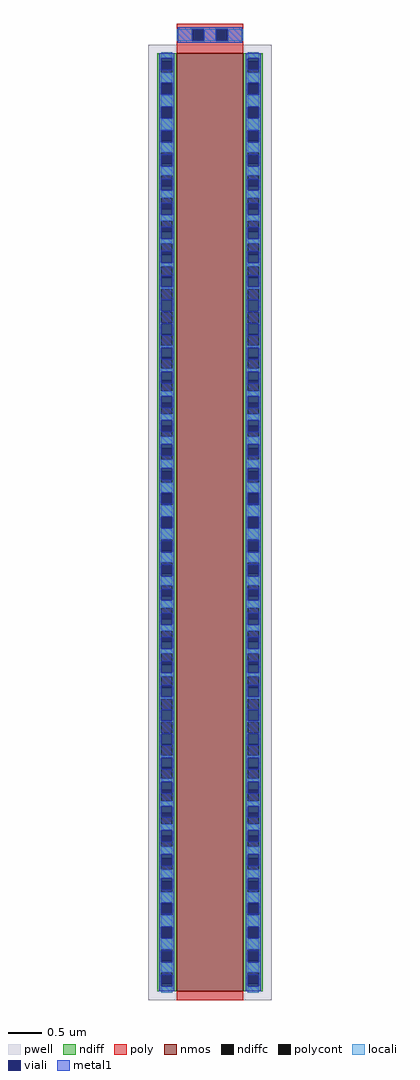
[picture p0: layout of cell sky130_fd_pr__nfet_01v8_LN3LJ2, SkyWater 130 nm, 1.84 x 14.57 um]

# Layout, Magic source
magic
tech sky130A
magscale 1 2
<< pwell >>
rect -184 -1457 184 1395
<< nmos >>
rect -100 -1431 100 1369
<< ndiff >>
rect -158 1346 -100 1369
rect -158 1312 -146 1346
rect -112 1312 -100 1346
rect -158 1278 -100 1312
rect -158 1244 -146 1278
rect -112 1244 -100 1278
rect -158 1210 -100 1244
rect -158 1176 -146 1210
rect -112 1176 -100 1210
rect -158 1142 -100 1176
rect -158 1108 -146 1142
rect -112 1108 -100 1142
rect -158 1074 -100 1108
rect -158 1040 -146 1074
rect -112 1040 -100 1074
rect -158 1006 -100 1040
rect -158 972 -146 1006
rect -112 972 -100 1006
rect -158 938 -100 972
rect -158 904 -146 938
rect -112 904 -100 938
rect -158 870 -100 904
rect -158 836 -146 870
rect -112 836 -100 870
rect -158 802 -100 836
rect -158 768 -146 802
rect -112 768 -100 802
rect -158 734 -100 768
rect -158 700 -146 734
rect -112 700 -100 734
rect -158 666 -100 700
rect -158 632 -146 666
rect -112 632 -100 666
rect -158 598 -100 632
rect -158 564 -146 598
rect -112 564 -100 598
rect -158 530 -100 564
rect -158 496 -146 530
rect -112 496 -100 530
rect -158 462 -100 496
rect -158 428 -146 462
rect -112 428 -100 462
rect -158 394 -100 428
rect -158 360 -146 394
rect -112 360 -100 394
rect -158 326 -100 360
rect -158 292 -146 326
rect -112 292 -100 326
rect -158 258 -100 292
rect -158 224 -146 258
rect -112 224 -100 258
rect -158 190 -100 224
rect -158 156 -146 190
rect -112 156 -100 190
rect -158 122 -100 156
rect -158 88 -146 122
rect -112 88 -100 122
rect -158 54 -100 88
rect -158 20 -146 54
rect -112 20 -100 54
rect -158 -14 -100 20
rect -158 -48 -146 -14
rect -112 -48 -100 -14
rect -158 -82 -100 -48
rect -158 -116 -146 -82
rect -112 -116 -100 -82
rect -158 -150 -100 -116
rect -158 -184 -146 -150
rect -112 -184 -100 -150
rect -158 -218 -100 -184
rect -158 -252 -146 -218
rect -112 -252 -100 -218
rect -158 -286 -100 -252
rect -158 -320 -146 -286
rect -112 -320 -100 -286
rect -158 -354 -100 -320
rect -158 -388 -146 -354
rect -112 -388 -100 -354
rect -158 -422 -100 -388
rect -158 -456 -146 -422
rect -112 -456 -100 -422
rect -158 -490 -100 -456
rect -158 -524 -146 -490
rect -112 -524 -100 -490
rect -158 -558 -100 -524
rect -158 -592 -146 -558
rect -112 -592 -100 -558
rect -158 -626 -100 -592
rect -158 -660 -146 -626
rect -112 -660 -100 -626
rect -158 -694 -100 -660
rect -158 -728 -146 -694
rect -112 -728 -100 -694
rect -158 -762 -100 -728
rect -158 -796 -146 -762
rect -112 -796 -100 -762
rect -158 -830 -100 -796
rect -158 -864 -146 -830
rect -112 -864 -100 -830
rect -158 -898 -100 -864
rect -158 -932 -146 -898
rect -112 -932 -100 -898
rect -158 -966 -100 -932
rect -158 -1000 -146 -966
rect -112 -1000 -100 -966
rect -158 -1034 -100 -1000
rect -158 -1068 -146 -1034
rect -112 -1068 -100 -1034
rect -158 -1102 -100 -1068
rect -158 -1136 -146 -1102
rect -112 -1136 -100 -1102
rect -158 -1170 -100 -1136
rect -158 -1204 -146 -1170
rect -112 -1204 -100 -1170
rect -158 -1238 -100 -1204
rect -158 -1272 -146 -1238
rect -112 -1272 -100 -1238
rect -158 -1306 -100 -1272
rect -158 -1340 -146 -1306
rect -112 -1340 -100 -1306
rect -158 -1374 -100 -1340
rect -158 -1408 -146 -1374
rect -112 -1408 -100 -1374
rect -158 -1431 -100 -1408
rect 100 1346 158 1369
rect 100 1312 112 1346
rect 146 1312 158 1346
rect 100 1278 158 1312
rect 100 1244 112 1278
rect 146 1244 158 1278
rect 100 1210 158 1244
rect 100 1176 112 1210
rect 146 1176 158 1210
rect 100 1142 158 1176
rect 100 1108 112 1142
rect 146 1108 158 1142
rect 100 1074 158 1108
rect 100 1040 112 1074
rect 146 1040 158 1074
rect 100 1006 158 1040
rect 100 972 112 1006
rect 146 972 158 1006
rect 100 938 158 972
rect 100 904 112 938
rect 146 904 158 938
rect 100 870 158 904
rect 100 836 112 870
rect 146 836 158 870
rect 100 802 158 836
rect 100 768 112 802
rect 146 768 158 802
rect 100 734 158 768
rect 100 700 112 734
rect 146 700 158 734
rect 100 666 158 700
rect 100 632 112 666
rect 146 632 158 666
rect 100 598 158 632
rect 100 564 112 598
rect 146 564 158 598
rect 100 530 158 564
rect 100 496 112 530
rect 146 496 158 530
rect 100 462 158 496
rect 100 428 112 462
rect 146 428 158 462
rect 100 394 158 428
rect 100 360 112 394
rect 146 360 158 394
rect 100 326 158 360
rect 100 292 112 326
rect 146 292 158 326
rect 100 258 158 292
rect 100 224 112 258
rect 146 224 158 258
rect 100 190 158 224
rect 100 156 112 190
rect 146 156 158 190
rect 100 122 158 156
rect 100 88 112 122
rect 146 88 158 122
rect 100 54 158 88
rect 100 20 112 54
rect 146 20 158 54
rect 100 -14 158 20
rect 100 -48 112 -14
rect 146 -48 158 -14
rect 100 -82 158 -48
rect 100 -116 112 -82
rect 146 -116 158 -82
rect 100 -150 158 -116
rect 100 -184 112 -150
rect 146 -184 158 -150
rect 100 -218 158 -184
rect 100 -252 112 -218
rect 146 -252 158 -218
rect 100 -286 158 -252
rect 100 -320 112 -286
rect 146 -320 158 -286
rect 100 -354 158 -320
rect 100 -388 112 -354
rect 146 -388 158 -354
rect 100 -422 158 -388
rect 100 -456 112 -422
rect 146 -456 158 -422
rect 100 -490 158 -456
rect 100 -524 112 -490
rect 146 -524 158 -490
rect 100 -558 158 -524
rect 100 -592 112 -558
rect 146 -592 158 -558
rect 100 -626 158 -592
rect 100 -660 112 -626
rect 146 -660 158 -626
rect 100 -694 158 -660
rect 100 -728 112 -694
rect 146 -728 158 -694
rect 100 -762 158 -728
rect 100 -796 112 -762
rect 146 -796 158 -762
rect 100 -830 158 -796
rect 100 -864 112 -830
rect 146 -864 158 -830
rect 100 -898 158 -864
rect 100 -932 112 -898
rect 146 -932 158 -898
rect 100 -966 158 -932
rect 100 -1000 112 -966
rect 146 -1000 158 -966
rect 100 -1034 158 -1000
rect 100 -1068 112 -1034
rect 146 -1068 158 -1034
rect 100 -1102 158 -1068
rect 100 -1136 112 -1102
rect 146 -1136 158 -1102
rect 100 -1170 158 -1136
rect 100 -1204 112 -1170
rect 146 -1204 158 -1170
rect 100 -1238 158 -1204
rect 100 -1272 112 -1238
rect 146 -1272 158 -1238
rect 100 -1306 158 -1272
rect 100 -1340 112 -1306
rect 146 -1340 158 -1306
rect 100 -1374 158 -1340
rect 100 -1408 112 -1374
rect 146 -1408 158 -1374
rect 100 -1431 158 -1408
<< ndiffc >>
rect -146 1312 -112 1346
rect -146 1244 -112 1278
rect -146 1176 -112 1210
rect -146 1108 -112 1142
rect -146 1040 -112 1074
rect -146 972 -112 1006
rect -146 904 -112 938
rect -146 836 -112 870
rect -146 768 -112 802
rect -146 700 -112 734
rect -146 632 -112 666
rect -146 564 -112 598
rect -146 496 -112 530
rect -146 428 -112 462
rect -146 360 -112 394
rect -146 292 -112 326
rect -146 224 -112 258
rect -146 156 -112 190
rect -146 88 -112 122
rect -146 20 -112 54
rect -146 -48 -112 -14
rect -146 -116 -112 -82
rect -146 -184 -112 -150
rect -146 -252 -112 -218
rect -146 -320 -112 -286
rect -146 -388 -112 -354
rect -146 -456 -112 -422
rect -146 -524 -112 -490
rect -146 -592 -112 -558
rect -146 -660 -112 -626
rect -146 -728 -112 -694
rect -146 -796 -112 -762
rect -146 -864 -112 -830
rect -146 -932 -112 -898
rect -146 -1000 -112 -966
rect -146 -1068 -112 -1034
rect -146 -1136 -112 -1102
rect -146 -1204 -112 -1170
rect -146 -1272 -112 -1238
rect -146 -1340 -112 -1306
rect -146 -1408 -112 -1374
rect 112 1312 146 1346
rect 112 1244 146 1278
rect 112 1176 146 1210
rect 112 1108 146 1142
rect 112 1040 146 1074
rect 112 972 146 1006
rect 112 904 146 938
rect 112 836 146 870
rect 112 768 146 802
rect 112 700 146 734
rect 112 632 146 666
rect 112 564 146 598
rect 112 496 146 530
rect 112 428 146 462
rect 112 360 146 394
rect 112 292 146 326
rect 112 224 146 258
rect 112 156 146 190
rect 112 88 146 122
rect 112 20 146 54
rect 112 -48 146 -14
rect 112 -116 146 -82
rect 112 -184 146 -150
rect 112 -252 146 -218
rect 112 -320 146 -286
rect 112 -388 146 -354
rect 112 -456 146 -422
rect 112 -524 146 -490
rect 112 -592 146 -558
rect 112 -660 146 -626
rect 112 -728 146 -694
rect 112 -796 146 -762
rect 112 -864 146 -830
rect 112 -932 146 -898
rect 112 -1000 146 -966
rect 112 -1068 146 -1034
rect 112 -1136 146 -1102
rect 112 -1204 146 -1170
rect 112 -1272 146 -1238
rect 112 -1340 146 -1306
rect 112 -1408 146 -1374
<< poly >>
rect -100 1441 100 1457
rect -100 1407 -51 1441
rect -17 1407 17 1441
rect 51 1407 100 1441
rect -100 1369 100 1407
rect -100 -1457 100 -1431
<< polycont >>
rect -51 1407 -17 1441
rect 17 1407 51 1441
<< locali >>
rect -100 1407 -53 1441
rect -17 1407 17 1441
rect 53 1407 100 1441
rect -146 1354 -112 1373
rect -146 1282 -112 1312
rect -146 1210 -112 1244
rect -146 1142 -112 1176
rect -146 1074 -112 1104
rect -146 1006 -112 1032
rect -146 938 -112 960
rect -146 870 -112 888
rect -146 802 -112 816
rect -146 734 -112 744
rect -146 666 -112 672
rect -146 598 -112 600
rect -146 562 -112 564
rect -146 490 -112 496
rect -146 418 -112 428
rect -146 346 -112 360
rect -146 274 -112 292
rect -146 202 -112 224
rect -146 130 -112 156
rect -146 58 -112 88
rect -146 -14 -112 20
rect -146 -82 -112 -48
rect -146 -150 -112 -120
rect -146 -218 -112 -192
rect -146 -286 -112 -264
rect -146 -354 -112 -336
rect -146 -422 -112 -408
rect -146 -490 -112 -480
rect -146 -558 -112 -552
rect -146 -626 -112 -624
rect -146 -662 -112 -660
rect -146 -734 -112 -728
rect -146 -806 -112 -796
rect -146 -878 -112 -864
rect -146 -950 -112 -932
rect -146 -1022 -112 -1000
rect -146 -1094 -112 -1068
rect -146 -1166 -112 -1136
rect -146 -1238 -112 -1204
rect -146 -1306 -112 -1272
rect -146 -1374 -112 -1344
rect -146 -1435 -112 -1416
rect 112 1354 146 1373
rect 112 1282 146 1312
rect 112 1210 146 1244
rect 112 1142 146 1176
rect 112 1074 146 1104
rect 112 1006 146 1032
rect 112 938 146 960
rect 112 870 146 888
rect 112 802 146 816
rect 112 734 146 744
rect 112 666 146 672
rect 112 598 146 600
rect 112 562 146 564
rect 112 490 146 496
rect 112 418 146 428
rect 112 346 146 360
rect 112 274 146 292
rect 112 202 146 224
rect 112 130 146 156
rect 112 58 146 88
rect 112 -14 146 20
rect 112 -82 146 -48
rect 112 -150 146 -120
rect 112 -218 146 -192
rect 112 -286 146 -264
rect 112 -354 146 -336
rect 112 -422 146 -408
rect 112 -490 146 -480
rect 112 -558 146 -552
rect 112 -626 146 -624
rect 112 -662 146 -660
rect 112 -734 146 -728
rect 112 -806 146 -796
rect 112 -878 146 -864
rect 112 -950 146 -932
rect 112 -1022 146 -1000
rect 112 -1094 146 -1068
rect 112 -1166 146 -1136
rect 112 -1238 146 -1204
rect 112 -1306 146 -1272
rect 112 -1374 146 -1344
rect 112 -1435 146 -1416
<< viali >>
rect -53 1407 -51 1441
rect -51 1407 -19 1441
rect 19 1407 51 1441
rect 51 1407 53 1441
rect -146 1346 -112 1354
rect -146 1320 -112 1346
rect -146 1278 -112 1282
rect -146 1248 -112 1278
rect -146 1176 -112 1210
rect -146 1108 -112 1138
rect -146 1104 -112 1108
rect -146 1040 -112 1066
rect -146 1032 -112 1040
rect -146 972 -112 994
rect -146 960 -112 972
rect -146 904 -112 922
rect -146 888 -112 904
rect -146 836 -112 850
rect -146 816 -112 836
rect -146 768 -112 778
rect -146 744 -112 768
rect -146 700 -112 706
rect -146 672 -112 700
rect -146 632 -112 634
rect -146 600 -112 632
rect -146 530 -112 562
rect -146 528 -112 530
rect -146 462 -112 490
rect -146 456 -112 462
rect -146 394 -112 418
rect -146 384 -112 394
rect -146 326 -112 346
rect -146 312 -112 326
rect -146 258 -112 274
rect -146 240 -112 258
rect -146 190 -112 202
rect -146 168 -112 190
rect -146 122 -112 130
rect -146 96 -112 122
rect -146 54 -112 58
rect -146 24 -112 54
rect -146 -48 -112 -14
rect -146 -116 -112 -86
rect -146 -120 -112 -116
rect -146 -184 -112 -158
rect -146 -192 -112 -184
rect -146 -252 -112 -230
rect -146 -264 -112 -252
rect -146 -320 -112 -302
rect -146 -336 -112 -320
rect -146 -388 -112 -374
rect -146 -408 -112 -388
rect -146 -456 -112 -446
rect -146 -480 -112 -456
rect -146 -524 -112 -518
rect -146 -552 -112 -524
rect -146 -592 -112 -590
rect -146 -624 -112 -592
rect -146 -694 -112 -662
rect -146 -696 -112 -694
rect -146 -762 -112 -734
rect -146 -768 -112 -762
rect -146 -830 -112 -806
rect -146 -840 -112 -830
rect -146 -898 -112 -878
rect -146 -912 -112 -898
rect -146 -966 -112 -950
rect -146 -984 -112 -966
rect -146 -1034 -112 -1022
rect -146 -1056 -112 -1034
rect -146 -1102 -112 -1094
rect -146 -1128 -112 -1102
rect -146 -1170 -112 -1166
rect -146 -1200 -112 -1170
rect -146 -1272 -112 -1238
rect -146 -1340 -112 -1310
rect -146 -1344 -112 -1340
rect -146 -1408 -112 -1382
rect -146 -1416 -112 -1408
rect 112 1346 146 1354
rect 112 1320 146 1346
rect 112 1278 146 1282
rect 112 1248 146 1278
rect 112 1176 146 1210
rect 112 1108 146 1138
rect 112 1104 146 1108
rect 112 1040 146 1066
rect 112 1032 146 1040
rect 112 972 146 994
rect 112 960 146 972
rect 112 904 146 922
rect 112 888 146 904
rect 112 836 146 850
rect 112 816 146 836
rect 112 768 146 778
rect 112 744 146 768
rect 112 700 146 706
rect 112 672 146 700
rect 112 632 146 634
rect 112 600 146 632
rect 112 530 146 562
rect 112 528 146 530
rect 112 462 146 490
rect 112 456 146 462
rect 112 394 146 418
rect 112 384 146 394
rect 112 326 146 346
rect 112 312 146 326
rect 112 258 146 274
rect 112 240 146 258
rect 112 190 146 202
rect 112 168 146 190
rect 112 122 146 130
rect 112 96 146 122
rect 112 54 146 58
rect 112 24 146 54
rect 112 -48 146 -14
rect 112 -116 146 -86
rect 112 -120 146 -116
rect 112 -184 146 -158
rect 112 -192 146 -184
rect 112 -252 146 -230
rect 112 -264 146 -252
rect 112 -320 146 -302
rect 112 -336 146 -320
rect 112 -388 146 -374
rect 112 -408 146 -388
rect 112 -456 146 -446
rect 112 -480 146 -456
rect 112 -524 146 -518
rect 112 -552 146 -524
rect 112 -592 146 -590
rect 112 -624 146 -592
rect 112 -694 146 -662
rect 112 -696 146 -694
rect 112 -762 146 -734
rect 112 -768 146 -762
rect 112 -830 146 -806
rect 112 -840 146 -830
rect 112 -898 146 -878
rect 112 -912 146 -898
rect 112 -966 146 -950
rect 112 -984 146 -966
rect 112 -1034 146 -1022
rect 112 -1056 146 -1034
rect 112 -1102 146 -1094
rect 112 -1128 146 -1102
rect 112 -1170 146 -1166
rect 112 -1200 146 -1170
rect 112 -1272 146 -1238
rect 112 -1340 146 -1310
rect 112 -1344 146 -1340
rect 112 -1408 146 -1382
rect 112 -1416 146 -1408
<< metal1 >>
rect -96 1441 96 1447
rect -96 1407 -53 1441
rect -19 1407 19 1441
rect 53 1407 96 1441
rect -96 1401 96 1407
rect -152 1354 -106 1369
rect -152 1320 -146 1354
rect -112 1320 -106 1354
rect -152 1282 -106 1320
rect -152 1248 -146 1282
rect -112 1248 -106 1282
rect -152 1210 -106 1248
rect -152 1176 -146 1210
rect -112 1176 -106 1210
rect -152 1138 -106 1176
rect -152 1104 -146 1138
rect -112 1104 -106 1138
rect -152 1066 -106 1104
rect -152 1032 -146 1066
rect -112 1032 -106 1066
rect -152 994 -106 1032
rect -152 960 -146 994
rect -112 960 -106 994
rect -152 922 -106 960
rect -152 888 -146 922
rect -112 888 -106 922
rect -152 850 -106 888
rect -152 816 -146 850
rect -112 816 -106 850
rect -152 778 -106 816
rect -152 744 -146 778
rect -112 744 -106 778
rect -152 706 -106 744
rect -152 672 -146 706
rect -112 672 -106 706
rect -152 634 -106 672
rect -152 600 -146 634
rect -112 600 -106 634
rect -152 562 -106 600
rect -152 528 -146 562
rect -112 528 -106 562
rect -152 490 -106 528
rect -152 456 -146 490
rect -112 456 -106 490
rect -152 418 -106 456
rect -152 384 -146 418
rect -112 384 -106 418
rect -152 346 -106 384
rect -152 312 -146 346
rect -112 312 -106 346
rect -152 274 -106 312
rect -152 240 -146 274
rect -112 240 -106 274
rect -152 202 -106 240
rect -152 168 -146 202
rect -112 168 -106 202
rect -152 130 -106 168
rect -152 96 -146 130
rect -112 96 -106 130
rect -152 58 -106 96
rect -152 24 -146 58
rect -112 24 -106 58
rect -152 -14 -106 24
rect -152 -48 -146 -14
rect -112 -48 -106 -14
rect -152 -86 -106 -48
rect -152 -120 -146 -86
rect -112 -120 -106 -86
rect -152 -158 -106 -120
rect -152 -192 -146 -158
rect -112 -192 -106 -158
rect -152 -230 -106 -192
rect -152 -264 -146 -230
rect -112 -264 -106 -230
rect -152 -302 -106 -264
rect -152 -336 -146 -302
rect -112 -336 -106 -302
rect -152 -374 -106 -336
rect -152 -408 -146 -374
rect -112 -408 -106 -374
rect -152 -446 -106 -408
rect -152 -480 -146 -446
rect -112 -480 -106 -446
rect -152 -518 -106 -480
rect -152 -552 -146 -518
rect -112 -552 -106 -518
rect -152 -590 -106 -552
rect -152 -624 -146 -590
rect -112 -624 -106 -590
rect -152 -662 -106 -624
rect -152 -696 -146 -662
rect -112 -696 -106 -662
rect -152 -734 -106 -696
rect -152 -768 -146 -734
rect -112 -768 -106 -734
rect -152 -806 -106 -768
rect -152 -840 -146 -806
rect -112 -840 -106 -806
rect -152 -878 -106 -840
rect -152 -912 -146 -878
rect -112 -912 -106 -878
rect -152 -950 -106 -912
rect -152 -984 -146 -950
rect -112 -984 -106 -950
rect -152 -1022 -106 -984
rect -152 -1056 -146 -1022
rect -112 -1056 -106 -1022
rect -152 -1094 -106 -1056
rect -152 -1128 -146 -1094
rect -112 -1128 -106 -1094
rect -152 -1166 -106 -1128
rect -152 -1200 -146 -1166
rect -112 -1200 -106 -1166
rect -152 -1238 -106 -1200
rect -152 -1272 -146 -1238
rect -112 -1272 -106 -1238
rect -152 -1310 -106 -1272
rect -152 -1344 -146 -1310
rect -112 -1344 -106 -1310
rect -152 -1382 -106 -1344
rect -152 -1416 -146 -1382
rect -112 -1416 -106 -1382
rect -152 -1431 -106 -1416
rect 106 1354 152 1369
rect 106 1320 112 1354
rect 146 1320 152 1354
rect 106 1282 152 1320
rect 106 1248 112 1282
rect 146 1248 152 1282
rect 106 1210 152 1248
rect 106 1176 112 1210
rect 146 1176 152 1210
rect 106 1138 152 1176
rect 106 1104 112 1138
rect 146 1104 152 1138
rect 106 1066 152 1104
rect 106 1032 112 1066
rect 146 1032 152 1066
rect 106 994 152 1032
rect 106 960 112 994
rect 146 960 152 994
rect 106 922 152 960
rect 106 888 112 922
rect 146 888 152 922
rect 106 850 152 888
rect 106 816 112 850
rect 146 816 152 850
rect 106 778 152 816
rect 106 744 112 778
rect 146 744 152 778
rect 106 706 152 744
rect 106 672 112 706
rect 146 672 152 706
rect 106 634 152 672
rect 106 600 112 634
rect 146 600 152 634
rect 106 562 152 600
rect 106 528 112 562
rect 146 528 152 562
rect 106 490 152 528
rect 106 456 112 490
rect 146 456 152 490
rect 106 418 152 456
rect 106 384 112 418
rect 146 384 152 418
rect 106 346 152 384
rect 106 312 112 346
rect 146 312 152 346
rect 106 274 152 312
rect 106 240 112 274
rect 146 240 152 274
rect 106 202 152 240
rect 106 168 112 202
rect 146 168 152 202
rect 106 130 152 168
rect 106 96 112 130
rect 146 96 152 130
rect 106 58 152 96
rect 106 24 112 58
rect 146 24 152 58
rect 106 -14 152 24
rect 106 -48 112 -14
rect 146 -48 152 -14
rect 106 -86 152 -48
rect 106 -120 112 -86
rect 146 -120 152 -86
rect 106 -158 152 -120
rect 106 -192 112 -158
rect 146 -192 152 -158
rect 106 -230 152 -192
rect 106 -264 112 -230
rect 146 -264 152 -230
rect 106 -302 152 -264
rect 106 -336 112 -302
rect 146 -336 152 -302
rect 106 -374 152 -336
rect 106 -408 112 -374
rect 146 -408 152 -374
rect 106 -446 152 -408
rect 106 -480 112 -446
rect 146 -480 152 -446
rect 106 -518 152 -480
rect 106 -552 112 -518
rect 146 -552 152 -518
rect 106 -590 152 -552
rect 106 -624 112 -590
rect 146 -624 152 -590
rect 106 -662 152 -624
rect 106 -696 112 -662
rect 146 -696 152 -662
rect 106 -734 152 -696
rect 106 -768 112 -734
rect 146 -768 152 -734
rect 106 -806 152 -768
rect 106 -840 112 -806
rect 146 -840 152 -806
rect 106 -878 152 -840
rect 106 -912 112 -878
rect 146 -912 152 -878
rect 106 -950 152 -912
rect 106 -984 112 -950
rect 146 -984 152 -950
rect 106 -1022 152 -984
rect 106 -1056 112 -1022
rect 146 -1056 152 -1022
rect 106 -1094 152 -1056
rect 106 -1128 112 -1094
rect 146 -1128 152 -1094
rect 106 -1166 152 -1128
rect 106 -1200 112 -1166
rect 146 -1200 152 -1166
rect 106 -1238 152 -1200
rect 106 -1272 112 -1238
rect 146 -1272 152 -1238
rect 106 -1310 152 -1272
rect 106 -1344 112 -1310
rect 146 -1344 152 -1310
rect 106 -1382 152 -1344
rect 106 -1416 112 -1382
rect 146 -1416 152 -1382
rect 106 -1431 152 -1416
<< end >>
